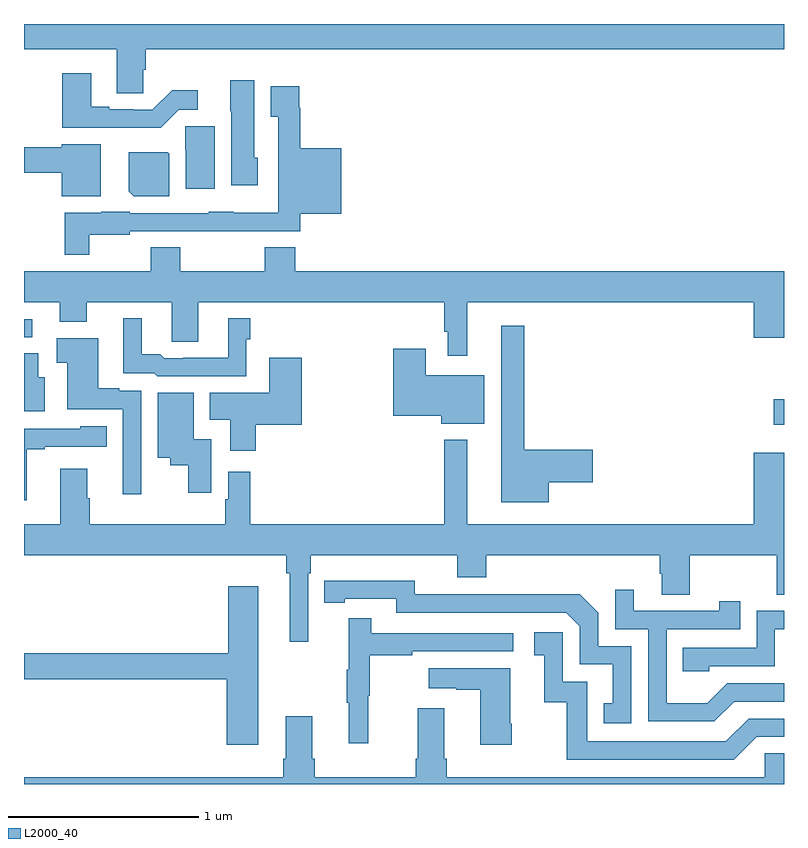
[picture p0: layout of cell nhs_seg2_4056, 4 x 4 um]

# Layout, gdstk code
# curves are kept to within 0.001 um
import gdstk
lib = gdstk.Library(unit=1e-6, precision=1e-09)
def R(c, l, rs):  # rectangles x0, y0, x1, y1
    for r in rs: c.add(gdstk.rectangle(r[:2], r[2:], *l))
def P(c, l, *ps):  # polygons
    for p in ps: c.add(gdstk.Polygon(p, *l))
L2000_40 = (2000, 40)

nhs_seg2_4056 = lib.new_cell('nhs_seg2_4056')
R(nhs_seg2_4056, L2000_40, [(332.946,613.691,333,613.826), (329,614.151,329.044,614.247)])
P(nhs_seg2_4056, L2000_40, [(329.628,615.558),(329.642,615.558),(329.642,615.668),(333,615.668),(333,615.8),(329,615.8),(329,615.668),(329.489,615.668),(329.489,615.436),(329.628,615.436)],
  [(329.814,615.348),(329.914,615.348),(329.914,615.451),(329.779,615.451),(329.676,615.348),(329.576,615.348),(329.576,615.351),(329.449,615.351),(329.449,615.364),(329.353,615.364),(329.353,615.541),(329.201,615.541),(329.201,615.254),(329.719,615.254)],
  [(330.229,615.096),(330.211,615.096),(330.211,615.505),(330.086,615.505),(330.086,615.342),(330.092,615.342),(330.092,614.952),(330.229,614.952)],
  [(329.344,614.69),(329.556,614.69),(329.556,614.709),(329.973,614.709),(329.973,614.708),(330.205,614.708),(330.205,614.709),(330.455,614.709),(330.455,614.801),(330.67,614.801),(330.67,615.145),(330.455,615.145),(330.455,615.359),(330.448,615.359),(330.448,615.472),(330.299,615.472),(330.299,615.311),(330.339,615.311),(330.339,614.806),(330.105,614.806),(330.105,614.812),(329.973,614.812),(329.973,614.805),(329.556,614.805),(329.556,614.812),(329.406,614.812),(329.406,614.806),(329.215,614.806),(329.215,614.585),(329.344,614.585)],
  [(330.004,615.261),(329.848,615.261),(329.848,615.138),(329.852,615.138),(329.852,614.934),(330.004,614.934)],
  [(329.404,615.166),(329.198,615.166),(329.198,615.152),(329,615.152),(329,615.016),(329.198,615.016),(329.198,614.894),(329.404,614.894)],
  [(329.764,615.116),(329.756,615.124),(329.552,615.124),(329.552,614.92),(329.578,614.894),(329.764,614.894)],
  [(331.333,614.336),(332.84,614.336),(332.84,614.148),(333,614.148),(333,614.5),(330.428,614.5),(330.428,614.624),(330.268,614.624),(330.268,614.5),(329.823,614.5),(329.823,614.624),(329.668,614.624),(329.668,614.5),(329,614.5),(329,614.336),(329.189,614.336),(329.189,614.234),(329.329,614.234),(329.329,614.336),(329.777,614.336),(329.777,614.128),(329.917,614.128),(329.917,614.336),(331.212,614.336),(331.212,614.179),(331.229,614.179),(331.229,614.055),(331.333,614.055)],
  [(330.171,614.14),(330.191,614.14),(330.191,614.251),(330.074,614.251),(330.074,614.043),(329.839,614.043),(329.839,614.04),(329.739,614.04),(329.717,614.063),(329.62,614.063),(329.62,614.251),(329.522,614.251),(329.522,613.962),(329.685,613.962),(329.7,613.947),(330.171,613.947)],
  [(331.762,613.388),(331.993,613.388),(331.993,613.559),(331.633,613.559),(331.633,614.212),(331.511,614.212),(331.511,613.283),(331.762,613.283)],
  [(329.616,613.869),(329.501,613.869),(329.501,613.882),(329.392,613.882),(329.392,614.146),(329.172,614.146),(329.172,614.017),(329.228,614.017),(329.228,613.773),(329.52,613.773),(329.52,613.326),(329.616,613.326)],
  [(331.423,613.951),(331.114,613.951),(331.114,614.092),(330.944,614.092),(330.944,613.739),(331.196,613.739),(331.196,613.697),(331.423,613.697)],
  [(329.11,613.942),(329.074,613.942),(329.074,614.066),(329,614.066),(329,613.763),(329.11,613.763)],
  [(330.221,613.691),(330.461,613.691),(330.461,614.044),(330.29,614.044),(330.29,613.858),(329.978,613.858),(329.978,613.718),(330.086,613.718),(330.086,613.554),(330.221,613.554)],
  [(329.985,613.615),(329.893,613.615),(329.893,613.858),(329.705,613.858),(329.705,613.517),(329.771,613.517),(329.771,613.478),(329.864,613.478),(329.864,613.332),(329.985,613.332)],
  [(329.014,613.563),(329.11,613.563),(329.11,613.575),(329.435,613.575),(329.435,613.684),(329.295,613.684),(329.295,613.671),(329,613.671),(329,613.293),(329.014,613.293)],
  [(330.495,612.908),(330.509,612.908),(330.509,613.004),(331.28,613.004),(331.28,612.887),(331.433,612.887),(331.433,613.004),(332.345,613.004),(332.345,612.906),(332.357,612.906),(332.357,612.796),(332.505,612.796),(332.505,613.004),(332.962,613.004),(332.962,612.796),(333,612.796),(333,613.543),(332.84,613.543),(332.84,613.168),(331.333,613.168),(331.333,613.612),(331.212,613.612),(331.212,613.168),(330.191,613.168),(330.191,613.444),(330.075,613.444),(330.075,613.298),(330.059,613.298),(330.059,613.168),(329.345,613.168),(329.345,613.305),(329.332,613.305),(329.332,613.459),(329.192,613.459),(329.192,613.168),(329,613.168),(329,613.004),(330.379,613.004),(330.379,612.908),(330.398,612.908),(330.398,612.549),(330.495,612.549)],
  [(332.196,612.525),(332.022,612.525),(332.022,612.702),(331.924,612.8),(331.516,612.8),(331.516,612.798),(331.056,612.798),(331.056,612.871),(330.58,612.87),(330.58,612.754),(330.688,612.754),(330.688,612.774),(330.96,612.774),(330.96,612.702),(331.854,612.702),(331.926,612.63),(331.926,612.429),(332.099,612.429),(332.099,612.225),(332.05,612.225),(332.05,612.12),(332.196,612.12)],
  [(330.232,612.841),(330.074,612.841),(330.074,612.488),(329,612.488),(329,612.352),(330.068,612.352),(330.068,612.006),(330.232,612.006)],
  [(332.737,612.234),(333,612.234),(333,612.33),(332.7,612.33),(332.596,612.226),(332.382,612.226),(332.382,612.615),(332.771,612.615),(332.771,612.763),(332.66,612.763),(332.66,612.711),(332.209,612.711),(332.209,612.823),(332.112,612.823),(332.112,612.615),(332.286,612.615),(332.286,612.129),(332.632,612.129)],
  [(332.607,612.42),(332.952,612.42),(332.952,612.615),(333,612.615),(333,612.711),(332.856,612.711),(332.856,612.516),(332.467,612.516),(332.467,612.393),(332.607,612.393)],
  [(330.812,612.264),(330.82,612.264),(330.82,612.478),(331.043,612.478),(331.043,612.498),(331.576,612.498),(331.576,612.594),(330.827,612.594),(330.827,612.673),(330.71,612.673),(330.71,612.401),(330.699,612.401),(330.699,612.227),(330.71,612.227),(330.71,612.015),(330.812,612.015)],
  [(332.856,612.048),(333,612.048),(333,612.144),(332.814,612.144),(332.694,612.024),(331.965,612.024),(331.965,612.339),(331.836,612.339),(331.836,612.598),(331.686,612.598),(331.686,612.477),(331.739,612.477),(331.739,612.231),(331.857,612.231),(331.857,611.928),(332.736,611.928)],
  [(331.566,612.118),(331.558,612.118),(331.558,612.409),(331.131,612.409),(331.131,612.305),(331.274,612.305),(331.274,612.295),(331.4,612.295),(331.4,612.006),(331.566,612.006)],
  [(333,611.963),(332.898,611.963),(332.898,611.836),(331.226,611.836),(331.226,611.932),(331.213,611.932),(331.213,612.199),(331.073,612.199),(331.073,611.932),(331.061,611.932),(331.061,611.836),(330.53,611.836),(330.53,611.932),(330.517,611.932),(330.517,612.157),(330.377,612.157),(330.377,611.932),(330.365,611.932),(330.365,611.836),(329,611.836),(329,611.8),(333,611.8)])

lib.write_gds('nhs_seg2_4056.gds')
